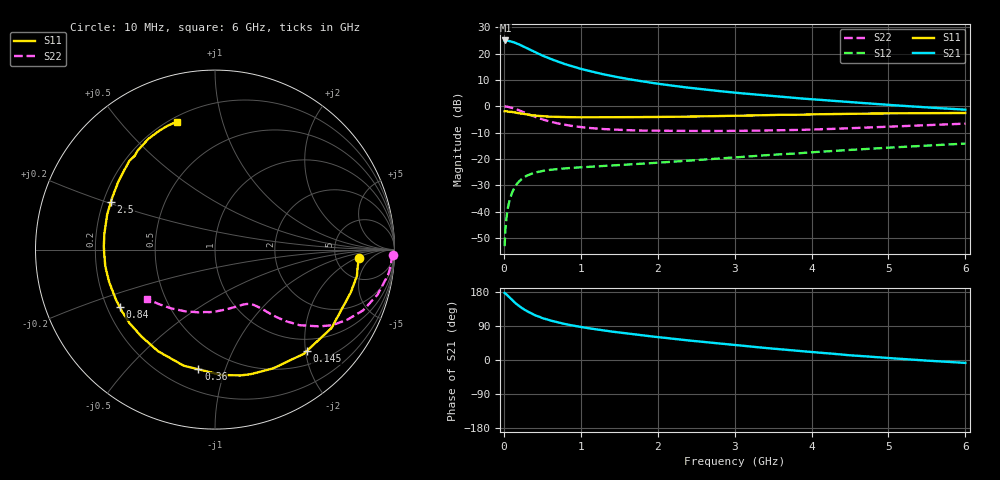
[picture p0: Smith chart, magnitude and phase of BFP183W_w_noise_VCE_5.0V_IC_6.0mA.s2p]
! Infineon Technologies  Discrete & RF Semiconductors
! BFP183W
! VCE = 5.0 V,  IC =  6.0 mA
! Common Emitter S-Parameters:  Jan 2016
# GHz  S  MA  R  50
!  f  S11  S21  S12  S22
! GHz  MAG  ANG  MAG  ANG  MAG  ANG  MAG  ANG
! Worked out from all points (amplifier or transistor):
!   210 points, 10 MHz to 6 GHz, reference 50 ohm
!   highest |S21| = 25.0 dB at 20 MHz (marker M1)
!   |S21| within 3 dB of that: start of sweep to 301.7 MHz
!   unconditionally stable (mu >= 1): 1.684 GHz to 5.498 GHz
!   at 185 MHz: K = 0.16, MSG = 26.3 dB, |S12| = -29.0 dB
!   at 1.52 GHz: K = 0.94, MSG = 16.6 dB, |S12| = -22.3 dB
!   at 6 GHz: K = 0.97, MSG = 6.4 dB, |S12| = -14.2 dB
!   lowest NFmin = 1.20 dB at 450 MHz
!   S11 on the Smith chart (normalised r, x): 10 MHz: 8.50, -2.35; 145 MHz: 0.75, -2.02; 360 MHz: 0.33, -0.81; 840 MHz: 0.25, -0.26; 2.5 GHz: 0.23, +0.21; 6 GHz: 0.23, +0.72
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0.01  0.8031 -3.5  17.68 177.0  0.0022 88.5  0.99 -1.6
0.02  0.8007 -7.1  17.72 175.7  0.0045 85.0  0.9846 -3.2
0.05  0.7931 -17.6  17.55 169.5  0.0112 80.6  0.9755 -8.1
0.1  0.7827 -33.9  16.87 159.7  0.0215 72.3  0.9402 -15.4
0.145  0.762 -48.0  16.04 151.2  0.0297 66.0  0.8963 -21.6
0.2  0.7367 -64.0  14.84 141.9  0.0376 58.7  0.8345 -27.9
0.24  0.722 -74.0  13.93 136.5  0.0423 54.7  0.7893 -31.7
0.3  0.6986 -87.4  12.58 128.7  0.0482 49.6  0.7226 -36.3
0.36  0.6735 -97.9  11.4 123.0  0.0521 45.4  0.6676 -39.4
0.4  0.6699 -105.1  10.69 118.6  0.0548 42.9  0.6322 -41.8
0.5  0.649 -119.3  9.175 110.7  0.0591 38.6  0.5622 -45.2
0.6  0.6344 -130.2  7.968 104.4  0.0618 35.8  0.51 -47.6
0.7  0.6283 -139.2  7.053 99.3  0.0641 34.2  0.471 -49.3
0.84  0.6199 -149.0  6.011 93.2  0.0668 32.7  0.4321 -51.1
1.02  0.6149 -159.1  5.032 86.6  0.0693 32.3  0.3986 -53.1
1.46  0.6173 -177.0  3.611 73.6  0.0757 33.2  0.358 -57.9
2.02  0.6252 166.6  2.654 60.0  0.085 36.0  0.3413 -65.5
2.5  0.6381 155.2  2.163 49.6  0.0946 38.3  0.3382 -73.5
3.1  0.6617 143.0  1.755 37.7  0.1091 39.8  0.3409 -84.7
4.1  0.7034 126.5  1.325 19.5  0.1363 39.7  0.364 -106.7
5.1  0.7327 114.2  1.036 3.8  0.1662 37.0  0.4134 -128.7
6  0.7434 106.4  0.859 -7.7  0.1951 33.7  0.4668 -144.1
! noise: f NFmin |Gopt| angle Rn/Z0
0.45  1.2  0.21  41  0.24
0.9  1.25  0.24  101  0.21
1.8  2  0.32  175  0.14
